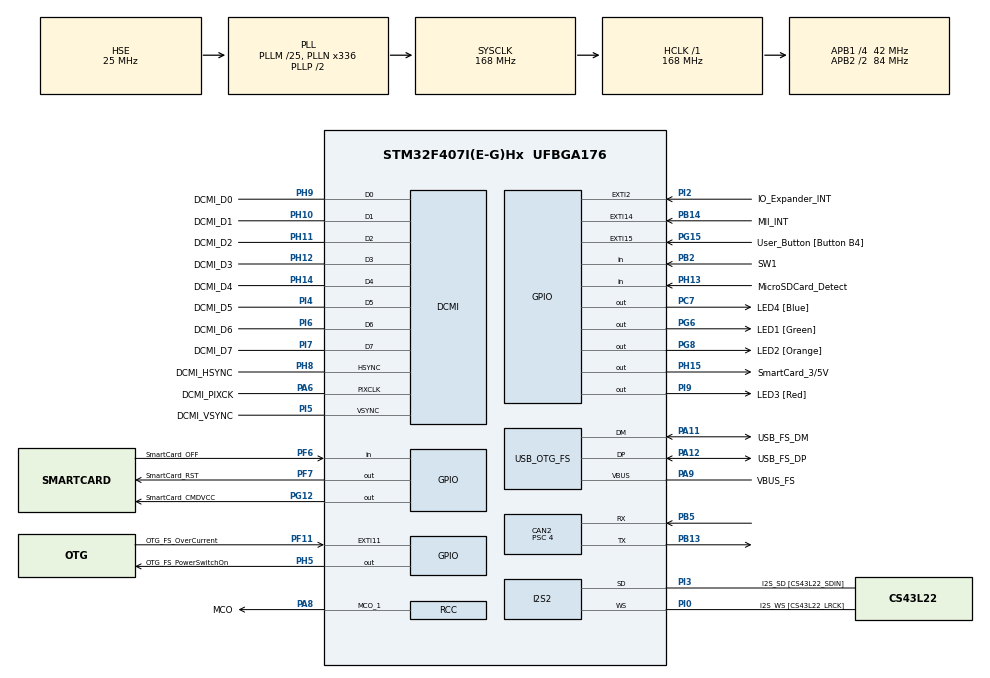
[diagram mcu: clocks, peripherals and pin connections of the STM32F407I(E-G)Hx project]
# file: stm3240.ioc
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CAN2.BS1=CAN_BS1_15TQ
CAN2.BS2=CAN_BS2_5TQ
CAN2.CalculateBaudRate=500000
CAN2.CalculateTimeBit=2000
CAN2.CalculateTimeQuantum=95.23809523809524
CAN2.Mode=CAN_MODE_NORMAL
CAN2.Prescaler=4
CAN2.SJW=CAN_SJW_1TQ
Mcu.Family=STM32F4
Mcu.Name=STM32F407I(E-G)Hx
Mcu.Package=UFBGA176
NVIC.CAN2_RX0_IRQn=true\:0\:0\:false\:false\:true\:true\:true
NVIC.CAN2_RX1_IRQn=true\:0\:0\:false\:false\:true\:true\:true
NVIC.OTG_FS_IRQn=true\:0\:0\:false\:false\:true\:true\:true
NVIC.PriorityGroup=NVIC_PRIORITYGROUP_0
PA0-WKUP.GPIO_Label=WAKEUP [Button B2]
PA0-WKUP.Signal=SYS_WKUP
PA1.GPIO_Label=MII_RX_CLK/RMII_REF_CLK
PA1.GPIO_Mode=GPIO_MODE_AF_PP
PA1.GPIO_PuPd=GPIO_NOPULL
PA1.GPIO_Speed=GPIO_SPEED_FREQ_LOW
PA1.Signal=ETH_RX_CLK
PA10.GPIO_Label=USB_FS_ID
PA10.GPIO_Mode=GPIO_MODE_AF_PP
PA10.GPIO_PuPd=GPIO_NOPULL
PA10.GPIO_Speed=GPIO_SPEED_FREQ_LOW
PA10.Signal=USB_OTG_FS_ID
PA11.GPIO_Label=USB_FS_DM
PA11.GPIO_Mode=GPIO_MODE_AF_PP
PA11.GPIO_PuPd=GPIO_NOPULL
PA11.GPIO_Speed=GPIO_SPEED_FREQ_LOW
PA11.Mode=Device_Only
PA11.Signal=USB_OTG_FS_DM
PA12.GPIO_Label=USB_FS_DP
PA12.GPIO_Mode=GPIO_MODE_AF_PP
PA12.GPIO_PuPd=GPIO_NOPULL
PA12.GPIO_Speed=GPIO_SPEED_FREQ_LOW
PA12.Mode=Device_Only
PA12.Signal=USB_OTG_FS_DP
PA13.GPIO_Label=TMS/SWDIO
PA13.Mode=Serial_Wire
PA13.Signal=SYS_JTMS-SWDIO
PA14.GPIO_Label=TCK/SWCLK
PA14.Mode=Serial_Wire
PA14.Signal=SYS_JTCK-SWCLK
PA15.GPIO_Label=TDI
PA15.Signal=SYS_JTDI
PA2.GPIO_Label=MII_MDIO
PA2.GPIO_Mode=GPIO_MODE_AF_PP
PA2.GPIO_PuPd=GPIO_NOPULL
PA2.GPIO_Speed=GPIO_SPEED_FREQ_LOW
PA2.Signal=ETH_MDIO
PA3.GPIO_Label=ULPI_D0
PA3.GPIO_Mode=GPIO_MODE_AF_PP
PA3.GPIO_PuPd=GPIO_NOPULL
PA3.GPIO_Speed=GPIO_SPEED_FREQ_VERY_HIGH
PA3.Signal=USB_OTG_HS_ULPI_D0
PA4.GPIO_Label=Audio_DAC_OUT [CS43L22_AIN1]
PA4.GPIO_Mode=GPIO_MODE_ANALOG
PA4.GPIO_PuPd=GPIO_NOPULL
PA4.Signal=COMP_DAC1_group
PA5.GPIO_Label=ULPI_CLK
PA5.GPIO_Mode=GPIO_MODE_AF_PP
PA5.GPIO_PuPd=GPIO_NOPULL
PA5.GPIO_Speed=GPIO_SPEED_FREQ_VERY_HIGH
PA5.Signal=USB_OTG_HS_ULPI_CK
PA6.GPIO_Label=DCMI_PIXCK
PA6.GPIO_Mode=GPIO_MODE_AF_PP
PA6.GPIO_PuPd=GPIO_NOPULL
PA6.GPIO_Speed=GPIO_SPEED_FREQ_LOW
PA6.Mode=Slave_8_bits_External_Synchro
PA6.Signal=DCMI_PIXCLK
PA7.GPIO_Label=MII_RX_DV/RMII_CRSDV
PA7.GPIO_Mode=GPIO_MODE_AF_PP
PA7.GPIO_PuPd=GPIO_NOPULL
PA7.GPIO_Speed=GPIO_SPEED_FREQ_LOW
PA7.Signal=ETH_RX_DV
PA8.GPIO_Label=MCO
PA8.GPIO_Mode=GPIO_MODE_AF_PP
PA8.GPIO_PuPd=GPIO_NOPULL
PA8.GPIO_Speed=GPIO_SPEED_FREQ_LOW
PA8.Mode=Clock-out-1
PA8.Signal=RCC_MCO_1
PA9.GPIO_Label=VBUS_FS
PA9.GPIO_Mode=GPIO_MODE_INPUT
PA9.GPIO_PuPd=GPIO_NOPULL
PA9.Mode=Activate_VBUS
PA9.Signal=USB_OTG_FS_VBUS
PB0.GPIO_Label=ULPI_D1
PB0.GPIO_Mode=GPIO_MODE_AF_PP
PB0.GPIO_PuPd=GPIO_NOPULL
PB0.GPIO_Speed=GPIO_SPEED_FREQ_VERY_HIGH
PB0.Signal=USB_OTG_HS_ULPI_D1
PB1.GPIO_Label=ULPI_D2
PB1.GPIO_Mode=GPIO_MODE_AF_PP
PB1.GPIO_PuPd=GPIO_NOPULL
PB1.GPIO_Speed=GPIO_SPEED_FREQ_VERY_HIGH
PB1.Signal=USB_OTG_HS_ULPI_D2
PB10.GPIO_Label=ULPI_D3
PB10.GPIO_Mode=GPIO_MODE_AF_PP
PB10.GPIO_PuPd=GPIO_NOPULL
PB10.GPIO_Speed=GPIO_SPEED_FREQ_VERY_HIGH
PB10.Signal=USB_OTG_HS_ULPI_D3
PB11.GPIO_Label=ULPI_D4
PB11.GPIO_Mode=GPIO_MODE_AF_PP
PB11.GPIO_PuPd=GPIO_NOPULL
PB11.GPIO_Speed=GPIO_SPEED_FREQ_VERY_HIGH
PB11.Signal=USB_OTG_HS_ULPI_D4
PB12.GPIO_Label=ULPI_D5
PB12.GPIO_Mode=GPIO_MODE_AF_PP
PB12.GPIO_PuPd=GPIO_NOPULL
PB12.GPIO_Speed=GPIO_SPEED_FREQ_VERY_HIGH
PB12.Signal=USB_OTG_HS_ULPI_D5
PB13.Mode=CAN_Activate
PB13.Signal=CAN2_TX
PB14.GPIO_Label=MII_INT
PB14.GPIO_ModeDefaultEXTI=GPIO_MODE_EVT_RISING
PB14.GPIO_PuPd=GPIO_NOPULL
PB14.Signal=GPXTI14
PB2.GPIO_Label=SW1
PB2.GPIO_Mode=GPIO_MODE_INPUT
PB2.GPIO_PuPd=GPIO_NOPULL
PB2.Signal=GPIO_Input
PB3.GPIO_Label=TDO/SWO
PB3.Signal=SYS_JTDO-SWO
PB4.GPIO_Label=TRST
PB4.Signal=SYS_JTRST
PB5.Mode=CAN_Activate
PB5.Signal=CAN2_RX
PB7.GPIO_Label=FSMC_NL [OneNAND_AVD]
PB7.GPIO_Mode=GPIO_MODE_AF_PP
PB7.GPIO_PuPd=GPIO_NOPULL
PB7.GPIO_Speed=GPIO_SPEED_FREQ_LOW
PB7.Signal=FSMC_NL
PB8.GPIO_Label=MII_TXD3
PB8.GPIO_Mode=GPIO_MODE_AF_PP
PB8.GPIO_PuPd=GPIO_NOPULL
PB8.GPIO_Speed=GPIO_SPEED_FREQ_LOW
PB8.Signal=ETH_TXD3
PB9.GPIO_Label=I2C1_SDA [CAM_SDA]
PB9.GPIO_Mode=GPIO_MODE_AF_OD
PB9.GPIO_Pu=GPIO_PULLUP
PB9.GPIO_PuPd=GPIO_NOPULL
PB9.GPIO_Speed=GPIO_SPEED_FREQ_LOW
PB9.Signal=I2C1_SDA
PC0.GPIO_Label=ULPI_STP
PC0.GPIO_Mode=GPIO_MODE_AF_PP
PC0.GPIO_PuPd=GPIO_NOPULL
PC0.GPIO_Speed=GPIO_SPEED_FREQ_VERY_HIGH
PC0.Signal=USB_OTG_HS_ULPI_STP
PC1.GPIO_Label=MII_MDC
PC1.GPIO_Mode=GPIO_MODE_AF_PP
PC1.GPIO_PuPd=GPIO_NOPULL
PC1.GPIO_Speed=GPIO_SPEED_FREQ_LOW
PC1.Signal=ETH_MDC
PC10.GPIO_Label=MicroSDCard_D2
PC10.GPIO_Mode=GPIO_MODE_AF_PP
PC10.GPIO_PuPd=GPIO_NOPULL
PC10.GPIO_Speed=GPIO_SPEED_FREQ_LOW
PC10.Signal=USART3_TX
PC11.GPIO_Label=MicroSDCard_D3
PC11.GPIO_Mode=GPIO_MODE_AF_PP
PC11.GPIO_PuPd=GPIO_NOPULL
PC11.GPIO_Speed=GPIO_SPEED_FREQ_LOW
PC11.Signal=USART3_RX
PC12.GPIO_Label=MicroSDCard_CLK
PC12.GPIO_Mode=GPIO_MODE_AF_PP
PC12.GPIO_PuPd=GPIO_NOPULL
PC12.GPIO_Speed=GPIO_SPEED_FREQ_LOW
PC12.Signal=SDIO_CK
PC13-ANTI_TAMP.GPIO_Label=Anti_Tamper [Button B3]
PC13-ANTI_TAMP.Signal=RTC_AF1
PC14-OSC32_IN.GPIO_Label=PC14-OSC32_IN
PC14-OSC32_IN.Mode=LSE-External-Oscillator
PC14-OSC32_IN.Signal=RCC_OSC32_IN
PC15-OSC32_OUT.GPIO_Label=PC15-OSC32_OUT
PC15-OSC32_OUT.Mode=LSE-External-Oscillator
PC15-OSC32_OUT.Signal=RCC_OSC32_OUT
PC2.GPIO_Label=MII_TXD2
PC2.GPIO_Mode=GPIO_MODE_AF_PP
PC2.GPIO_PuPd=GPIO_NOPULL
PC2.GPIO_Speed=GPIO_SPEED_FREQ_LOW
PC2.Signal=ETH_TXD2
PC3.GPIO_Label=MII_TX_CLK
PC3.GPIO_Mode=GPIO_MODE_AF_PP
PC3.GPIO_PuPd=GPIO_NOPULL
PC3.GPIO_Speed=GPIO_SPEED_FREQ_LOW
PC3.Signal=ETH_TX_CLK
PC4.GPIO_Label=MII_RXD0
PC4.GPIO_Mode=GPIO_MODE_AF_PP
PC4.GPIO_PuPd=GPIO_NOPULL
PC4.GPIO_Speed=GPIO_SPEED_FREQ_LOW
PC4.Signal=ETH_RXD0
PC5.GPIO_Label=MII_RXD1
PC5.GPIO_Mode=GPIO_MODE_AF_PP
PC5.GPIO_PuPd=GPIO_NOPULL
PC5.GPIO_Speed=GPIO_SPEED_FREQ_LOW
PC5.Signal=ETH_RXD1
PC7.GPIO_Label=LED4 [Blue]
PC7.GPIO_Mode=GPIO_MODE_OUTPUT_PP
PC7.GPIO_ModeDefaultOutputPP=GPIO_MODE_OUTPUT_PP
PC7.GPIO_PuPd=GPIO_NOPULL
PC7.GPIO_Speed=GPIO_SPEED_FREQ_LOW
PC7.Signal=GPIO_Output
PC8.GPIO_Label=MicroSDCard_D0
PC8.GPIO_Mode=GPIO_MODE_AF_PP
PC8.GPIO_PuPd=GPIO_NOPULL
PC8.GPIO_Speed=GPIO_SPEED_FREQ_LOW
PC8.Signal=SDIO_D0
PC9.GPIO_Label=MicroSDCard_D1
PC9.GPIO_Mode=GPIO_MODE_AF_PP
PC9.GPIO_PuPd=GPIO_NOPULL
PC9.GPIO_Speed=GPIO_SPEED_FREQ_LOW
PC9.Signal=SDIO_D1
PD0.GPIO_Label=D2
PD0.GPIO_Mode=GPIO_MODE_AF_PP
PD0.GPIO_PuPd=GPIO_NOPULL
PD0.GPIO_Speed=GPIO_SPEED_FREQ_LOW
PD0.Signal=FSMC_D2_DA2
PD1.GPIO_Label=D3
PD1.GPIO_Mode=GPIO_MODE_AF_PP
PD1.GPIO_PuPd=GPIO_NOPULL
PD1.GPIO_Speed=GPIO_SPEED_FREQ_LOW
PD1.Signal=FSMC_D3_DA3
PD10.GPIO_Label=D15
PD10.GPIO_Mode=GPIO_MODE_AF_PP
PD10.GPIO_PuPd=GPIO_NOPULL
PD10.GPIO_Speed=GPIO_SPEED_FREQ_LOW
PD10.Signal=FSMC_D15_DA15
PD11.GPIO_Label=A16
PD11.GPIO_Mode=GPIO_MODE_AF_PP
PD11.GPIO_PuPd=GPIO_NOPULL
PD11.GPIO_Speed=GPIO_SPEED_FREQ_LOW
PD11.Signal=FSMC_A16_CLE
PD12.GPIO_Label=A17
PD12.GPIO_Mode=GPIO_MODE_AF_PP
PD12.GPIO_PuPd=GPIO_NOPULL
PD12.GPIO_Speed=GPIO_SPEED_FREQ_LOW
PD12.Signal=FSMC_A17_ALE
PD13.GPIO_Label=A18
PD13.GPIO_Mode=GPIO_MODE_AF_PP
PD13.GPIO_PuPd=GPIO_NOPULL
PD13.GPIO_Speed=GPIO_SPEED_FREQ_LOW
PD13.Signal=FSMC_A18
PD14.GPIO_Label=D0
PD14.GPIO_Mode=GPIO_MODE_AF_PP
PD14.GPIO_PuPd=GPIO_NOPULL
PD14.GPIO_Speed=GPIO_SPEED_FREQ_LOW
PD14.Signal=FSMC_D0_DA0
PD15.GPIO_Label=D1
PD15.GPIO_Mode=GPIO_MODE_AF_PP
PD15.GPIO_PuPd=GPIO_NOPULL
PD15.GPIO_Speed=GPIO_SPEED_FREQ_LOW
PD15.Signal=FSMC_D1_DA1
PD2.GPIO_Label=MicroSDCard_CMD
PD2.GPIO_Mode=GPIO_MODE_AF_PP
PD2.GPIO_PuPd=GPIO_NOPULL
PD2.GPIO_Speed=GPIO_SPEED_FREQ_LOW
PD2.Signal=SDIO_CMD
PD3.GPIO_Label=FSMC_CLK [OneNAND_CLK]
PD3.GPIO_Mode=GPIO_MODE_AF_PP
PD3.GPIO_PuPd=GPIO_NOPULL
PD3.GPIO_Speed=GPIO_SPEED_FREQ_LOW
PD3.Signal=FSMC_CLK
PD4.GPIO_Label=FSMC_NOE
PD4.GPIO_Mode=GPIO_MODE_AF_PP
PD4.GPIO_PuPd=GPIO_NOPULL
PD4.GPIO_Speed=GPIO_SPEED_FREQ_LOW
PD4.Signal=FSMC_NOE
PD5.GPIO_Label=FSMC_NWE
PD5.GPIO_Mode=GPIO_MODE_AF_PP
PD5.GPIO_PuPd=GPIO_NOPULL
PD5.GPIO_Speed=GPIO_SPEED_FREQ_LOW
PD5.Signal=FSMC_NWE
PD6.GPIO_Label=FSMC_NWAIT [OneNAND_RDY]
PD6.GPIO_Mode=GPIO_MODE_AF_PP
PD6.GPIO_PuPd=GPIO_NOPULL
PD6.GPIO_Speed=GPIO_SPEED_FREQ_LOW
PD6.Signal=FSMC_NWAIT
PD7.GPIO_Label=FSMC_NE1 [OneNAND_CE]
PD7.GPIO_Mode=GPIO_MODE_AF_PP
PD7.GPIO_PuPd=GPIO_NOPULL
PD7.GPIO_Speed=GPIO_SPEED_FREQ_LOW
PD7.Signal=FSMC_NE1
PD8.GPIO_Label=D13
PD8.GPIO_Mode=GPIO_MODE_AF_PP
PD8.GPIO_PuPd=GPIO_NOPULL
PD8.GPIO_Speed=GPIO_SPEED_FREQ_LOW
PD8.Signal=FSMC_D13_DA13
PD9.GPIO_Label=D14
PD9.GPIO_Mode=GPIO_MODE_AF_PP
PD9.GPIO_PuPd=GPIO_NOPULL
PD9.GPIO_Speed=GPIO_SPEED_FREQ_LOW
PD9.Signal=FSMC_D14_DA14
PE0.GPIO_Label=FSMC_NBL0 [SRAM_BLE]
PE0.GPIO_Mode=GPIO_MODE_AF_PP
PE0.GPIO_PuPd=GPIO_NOPULL
PE0.GPIO_Speed=GPIO_SPEED_FREQ_LOW
PE0.Signal=FSMC_NBL0
PE1.GPIO_Label=FSMC_NBL1 [SRAM_BHE]
PE1.GPIO_Mode=GPIO_MODE_AF_PP
PE1.GPIO_PuPd=GPIO_NOPULL
PE1.GPIO_Speed=GPIO_SPEED_FREQ_LOW
PE1.Signal=FSMC_NBL1
PE10.GPIO_Label=D7
PE10.GPIO_Mode=GPIO_MODE_AF_PP
PE10.GPIO_PuPd=GPIO_NOPULL
PE10.GPIO_Speed=GPIO_SPEED_FREQ_LOW
PE10.Signal=FSMC_D7_DA7
PE11.GPIO_Label=D8
PE11.GPIO_Mode=GPIO_MODE_AF_PP
PE11.GPIO_PuPd=GPIO_NOPULL
PE11.GPIO_Speed=GPIO_SPEED_FREQ_LOW
PE11.Signal=FSMC_D8_DA8
PE12.GPIO_Label=D9
PE12.GPIO_Mode=GPIO_MODE_AF_PP
PE12.GPIO_PuPd=GPIO_NOPULL
PE12.GPIO_Speed=GPIO_SPEED_FREQ_LOW
PE12.Signal=FSMC_D9_DA9
PE13.GPIO_Label=D10
PE13.GPIO_Mode=GPIO_MODE_AF_PP
PE13.GPIO_PuPd=GPIO_NOPULL
PE13.GPIO_Speed=GPIO_SPEED_FREQ_LOW
PE13.Signal=FSMC_D10_DA10
PE14.GPIO_Label=D11
PE14.GPIO_Mode=GPIO_MODE_AF_PP
PE14.GPIO_PuPd=GPIO_NOPULL
PE14.GPIO_Speed=GPIO_SPEED_FREQ_LOW
PE14.Signal=FSMC_D11_DA11
PE15.GPIO_Label=D12
PE15.GPIO_Mode=GPIO_MODE_AF_PP
PE15.GPIO_PuPd=GPIO_NOPULL
PE15.GPIO_Speed=GPIO_SPEED_FREQ_LOW
PE15.Signal=FSMC_D12_DA12
PE2.GPIO_Label=TRACE_CLK
PE2.Signal=SYS_TRACECLK
PE3.GPIO_Label=A19
PE3.GPIO_Mode=GPIO_MODE_AF_PP
PE3.GPIO_PuPd=GPIO_NOPULL
PE3.GPIO_Speed=GPIO_SPEED_FREQ_LOW
PE3.Signal=FSMC_A19
PE4.GPIO_Label=A20
PE4.GPIO_Mode=GPIO_MODE_AF_PP
PE4.GPIO_PuPd=GPIO_NOPULL
PE4.GPIO_Speed=GPIO_SPEED_FREQ_LOW
PE4.Signal=FSMC_A20
PE5.GPIO_Label=TRACE_D2
PE5.Signal=SYS_TRACED2
PE6.GPIO_Label=TRACE_D3
PE6.Signal=SYS_TRACED3
PE7.GPIO_Label=D4
PE7.GPIO_Mode=GPIO_MODE_AF_PP
PE7.GPIO_PuPd=GPIO_NOPULL
PE7.GPIO_Speed=GPIO_SPEED_FREQ_LOW
PE7.Signal=FSMC_D4_DA4
PE8.GPIO_Label=D5
PE8.GPIO_Mode=GPIO_MODE_AF_PP
PE8.GPIO_PuPd=GPIO_NOPULL
PE8.GPIO_Speed=GPIO_SPEED_FREQ_LOW
PE8.Signal=FSMC_D5_DA5
PE9.GPIO_Label=D6
PE9.GPIO_Mode=GPIO_MODE_AF_PP
PE9.GPIO_PuPd=GPIO_NOPULL
PE9.GPIO_Speed=GPIO_SPEED_FREQ_LOW
PE9.Signal=FSMC_D6_DA6
PF0.GPIO_Label=A0
PF0.GPIO_Mode=GPIO_MODE_AF_PP
PF0.GPIO_PuPd=GPIO_NOPULL
PF0.GPIO_Speed=GPIO_SPEED_FREQ_LOW
PF0.Signal=FSMC_A0
PF1.GPIO_Label=A1
PF1.GPIO_Mode=GPIO_MODE_AF_PP
PF1.GPIO_PuPd=GPIO_NOPULL
PF1.GPIO_Speed=GPIO_SPEED_FREQ_LOW
PF1.Signal=FSMC_A1
PF10.GPIO_Label=Audio_IN [TS472_OUT+]
PF10.GPIO_Mode=GPIO_MODE_ANALOG
PF10.GPIO_PuPd=GPIO_NOPULL
PF10.Signal=ADC3_IN8
PF11.GPIO_Label=OTG_FS_OverCurrent
PF11.GPIO_ModeDefaultEXTI=GPIO_MODE_EVT_RISING
PF11.GPIO_PuPd=GPIO_NOPULL
PF11.Signal=GPXTI11
PF12.GPIO_Label=A6
PF12.GPIO_Mode=GPIO_MODE_AF_PP
PF12.GPIO_PuPd=GPIO_NOPULL
PF12.GPIO_Speed=GPIO_SPEED_FREQ_LOW
PF12.Signal=FSMC_A6
PF13.GPIO_Label=A7
PF13.GPIO_Mode=GPIO_MODE_AF_PP
PF13.GPIO_PuPd=GPIO_NOPULL
PF13.GPIO_Speed=GPIO_SPEED_FREQ_LOW
PF13.Signal=FSMC_A7
PF14.GPIO_Label=A8
PF14.GPIO_Mode=GPIO_MODE_AF_PP
PF14.GPIO_PuPd=GPIO_NOPULL
PF14.GPIO_Speed=GPIO_SPEED_FREQ_LOW
PF14.Signal=FSMC_A8
PF15.GPIO_Label=A9
PF15.GPIO_Mode=GPIO_MODE_AF_PP
PF15.GPIO_PuPd=GPIO_NOPULL
PF15.GPIO_Speed=GPIO_SPEED_FREQ_LOW
PF15.Signal=FSMC_A9
PF2.GPIO_Label=A2
PF2.GPIO_Mode=GPIO_MODE_AF_PP
PF2.GPIO_PuPd=GPIO_NOPULL
PF2.GPIO_Speed=GPIO_SPEED_FREQ_LOW
PF2.Signal=FSMC_A2
PF3.GPIO_Label=A3
PF3.GPIO_Mode=GPIO_MODE_AF_PP
PF3.GPIO_PuPd=GPIO_NOPULL
PF3.GPIO_Speed=GPIO_SPEED_FREQ_LOW
PF3.Signal=FSMC_A3
PF4.GPIO_Label=A4
PF4.GPIO_Mode=GPIO_MODE_AF_PP
PF4.GPIO_PuPd=GPIO_NOPULL
PF4.GPIO_Speed=GPIO_SPEED_FREQ_LOW
PF4.Signal=FSMC_A4
PF5.GPIO_Label=A5
PF5.GPIO_Mode=GPIO_MODE_AF_PP
PF5.GPIO_PuPd=GPIO_NOPULL
PF5.GPIO_Speed=GPIO_SPEED_FREQ_LOW
PF5.Signal=FSMC_A5
PF6.GPIO_Label=SmartCard_OFF
PF6.GPIO_Mode=GPIO_MODE_INPUT
PF6.GPIO_PuPd=GPIO_NOPULL
PF6.Signal=GPIO_Input
PF7.GPIO_Label=SmartCard_RST
PF7.GPIO_Mode=GPIO_MODE_OUTPUT_PP
PF7.GPIO_ModeDefaultOutputPP=GPIO_MODE_OUTPUT_PP
PF7.GPIO_PuPd=GPIO_NOPULL
PF7.GPIO_Speed=GPIO_SPEED_FREQ_LOW
PF7.Signal=GPIO_Output
PF9.GPIO_Label=Potentiometer [RV1]
PF9.GPIO_Mode=GPIO_MODE_ANALOG
PF9.GPIO_PuPd=GPIO_NOPULL
PF9.Signal=ADC3_IN7
PG0.GPIO_Label=A10
PG0.GPIO_Mode=GPIO_MODE_AF_PP
PG0.GPIO_PuPd=GPIO_NOPULL
PG0.GPIO_Speed=GPIO_SPEED_FREQ_LOW
PG0.Signal=FSMC_A10
PG1.GPIO_Label=A11
PG1.GPIO_Mode=GPIO_MODE_AF_PP
PG1.GPIO_PuPd=GPIO_NOPULL
PG1.GPIO_Speed=GPIO_SPEED_FREQ_LOW
PG1.Signal=FSMC_A11
PG10.GPIO_Label=FSMC_NE3 [TFT-LCD_CS]
PG10.GPIO_Mode=GPIO_MODE_AF_PP
PG10.GPIO_PuPd=GPIO_NOPULL
PG10.GPIO_Speed=GPIO_SPEED_FREQ_LOW
PG10.Signal=FSMC_NE3
PG12.GPIO_Label=SmartCard_CMDVCC
PG12.GPIO_Mode=GPIO_MODE_OUTPUT_PP
PG12.GPIO_ModeDefaultOutputPP=GPIO_MODE_OUTPUT_PP
PG12.GPIO_PuPd=GPIO_NOPULL
PG12.GPIO_Speed=GPIO_SPEED_FREQ_LOW
PG12.Signal=GPIO_Output
PG13.GPIO_Label=MII_TXD0
PG13.GPIO_Mode=GPIO_MODE_AF_PP
PG13.GPIO_PuPd=GPIO_NOPULL
PG13.GPIO_Speed=GPIO_SPEED_FREQ_LOW
PG13.Signal=ETH_TXD0
PG14.GPIO_Label=MII_TXD1
PG14.GPIO_Mode=GPIO_MODE_AF_PP
PG14.GPIO_PuPd=GPIO_NOPULL
PG14.GPIO_Speed=GPIO_SPEED_FREQ_LOW
PG14.Signal=ETH_TXD1
PG15.GPIO_Label=User_Button [Button B4]
PG15.GPIO_ModeDefaultEXTI=GPIO_MODE_EVT_RISING
PG15.GPIO_PuPd=GPIO_NOPULL
PG15.Signal=GPXTI15
PG2.GPIO_Label=A12
PG2.GPIO_Mode=GPIO_MODE_AF_PP
PG2.GPIO_PuPd=GPIO_NOPULL
PG2.GPIO_Speed=GPIO_SPEED_FREQ_LOW
PG2.Signal=FSMC_A12
PG3.GPIO_Label=A13
PG3.GPIO_Mode=GPIO_MODE_AF_PP
PG3.GPIO_PuPd=GPIO_NOPULL
PG3.GPIO_Speed=GPIO_SPEED_FREQ_LOW
PG3.Signal=FSMC_A13
PG4.GPIO_Label=A14
PG4.GPIO_Mode=GPIO_MODE_AF_PP
PG4.GPIO_PuPd=GPIO_NOPULL
PG4.GPIO_Speed=GPIO_SPEED_FREQ_LOW
PG4.Signal=FSMC_A14
PG5.GPIO_Label=A15
PG5.GPIO_Mode=GPIO_MODE_AF_PP
PG5.GPIO_PuPd=GPIO_NOPULL
PG5.GPIO_Speed=GPIO_SPEED_FREQ_LOW
PG5.Signal=FSMC_A15
PG6.GPIO_Label=LED1 [Green]
PG6.GPIO_Mode=GPIO_MODE_OUTPUT_PP
PG6.GPIO_ModeDefaultOutputPP=GPIO_MODE_OUTPUT_PP
PG6.GPIO_PuPd=GPIO_NOPULL
PG6.GPIO_Speed=GPIO_SPEED_FREQ_LOW
PG6.Signal=GPIO_Output
PG7.GPIO_Label=SmartCard_CLK
PG7.GPIO_Mode=GPIO_MODE_AF_PP
PG7.GPIO_PuPd=GPIO_NOPULL
PG7.GPIO_Speed=GPIO_SPEED_FREQ_LOW
PG7.Signal=USART6_CK
PG8.GPIO_Label=LED2 [Orange]
PG8.GPIO_Mode=GPIO_MODE_OUTPUT_PP
PG8.GPIO_ModeDefaultOutputPP=GPIO_MODE_OUTPUT_PP
PG8.GPIO_PuPd=GPIO_NOPULL
PG8.GPIO_Speed=GPIO_SPEED_FREQ_LOW
PG8.Signal=GPIO_Output
PG9.GPIO_Label=FSMC_NE2 [SDRAM_CE]
PG9.GPIO_Mode=GPIO_MODE_AF_PP
PG9.GPIO_PuPd=GPIO_NOPULL
PG9.GPIO_Speed=GPIO_SPEED_FREQ_LOW
PG9.Signal=FSMC_NE2
PH0-OSC_IN.GPIO_Label=PH0-OSC_IN
PH0-OSC_IN.Mode=HSE-External-Oscillator
PH0-OSC_IN.Signal=RCC_OSC_IN
PH1-OSC_OUT.GPIO_Label=PH1-OSC_OUT
PH1-OSC_OUT.Mode=HSE-External-Oscillator
PH1-OSC_OUT.Signal=RCC_OSC_OUT
PH10.GPIO_Label=DCMI_D1
PH10.GPIO_Mode=GPIO_MODE_AF_PP
PH10.GPIO_PuPd=GPIO_NOPULL
PH10.GPIO_Speed=GPIO_SPEED_FREQ_LOW
PH10.Mode=Slave_8_bits_External_Synchro
PH10.Signal=DCMI_D1
PH11.GPIO_Label=DCMI_D2
PH11.GPIO_Mode=GPIO_MODE_AF_PP
PH11.GPIO_PuPd=GPIO_NOPULL
PH11.GPIO_Speed=GPIO_SPEED_FREQ_LOW
PH11.Mode=Slave_8_bits_External_Synchro
PH11.Signal=DCMI_D2
PH12.GPIO_Label=DCMI_D3
PH12.GPIO_Mode=GPIO_MODE_AF_PP
PH12.GPIO_PuPd=GPIO_NOPULL
PH12.GPIO_Speed=GPIO_SPEED_FREQ_LOW
PH12.Mode=Slave_8_bits_External_Synchro
PH12.Signal=DCMI_D3
PH13.GPIO_Label=MicroSDCard_Detect
PH13.GPIO_Mode=GPIO_MODE_INPUT
PH13.GPIO_PuPd=GPIO_PULLUP
PH13.Signal=GPIO_Input
PH14.GPIO_Label=DCMI_D4
PH14.GPIO_Mode=GPIO_MODE_AF_PP
PH14.GPIO_PuPd=GPIO_NOPULL
PH14.GPIO_Speed=GPIO_SPEED_FREQ_LOW
PH14.Mode=Slave_8_bits_External_Synchro
PH14.Signal=DCMI_D4
PH15.GPIO_Label=SmartCard_3/5V
PH15.GPIO_Mode=GPIO_MODE_OUTPUT_PP
PH15.GPIO_ModeDefaultOutputPP=GPIO_MODE_OUTPUT_PP
PH15.GPIO_PuPd=GPIO_NOPULL
PH15.GPIO_Speed=GPIO_SPEED_FREQ_LOW
PH15.Signal=GPIO_Output
PH2.GPIO_Label=MII_CRS
PH2.GPIO_Mode=GPIO_MODE_AF_PP
PH2.GPIO_PuPd=GPIO_NOPULL
PH2.GPIO_Speed=GPIO_SPEED_FREQ_LOW
PH2.Signal=ETH_CRS
PH3.GPIO_Label=MII_COL
PH3.GPIO_Mode=GPIO_MODE_AF_PP
PH3.GPIO_PuPd=GPIO_NOPULL
PH3.GPIO_Speed=GPIO_SPEED_FREQ_LOW
PH3.Signal=ETH_COL
PH4.GPIO_Label=ULPI_NXT
PH4.GPIO_Mode=GPIO_MODE_AF_PP
PH4.GPIO_PuPd=GPIO_NOPULL
PH4.GPIO_Speed=GPIO_SPEED_FREQ_VERY_HIGH
PH4.Signal=USB_OTG_HS_ULPI_NXT
PH5.GPIO_Label=OTG_FS_PowerSwitchOn
PH5.GPIO_Mode=GPIO_MODE_OUTPUT_PP
PH5.GPIO_ModeDefaultOutputPP=GPIO_MODE_OUTPUT_PP
PH5.GPIO_PuPd=GPIO_NOPULL
PH5.GPIO_Speed=GPIO_SPEED_FREQ_LOW
PH5.Signal=GPIO_Output
PH6.GPIO_Label=MII_RXD2
PH6.GPIO_Mode=GPIO_MODE_AF_PP
PH6.GPIO_PuPd=GPIO_NOPULL
PH6.GPIO_Speed=GPIO_SPEED_FREQ_LOW
PH6.Signal=ETH_RXD2
PH7.GPIO_Label=MII_RXD3
PH7.GPIO_Mode=GPIO_MODE_AF_PP
PH7.GPIO_PuPd=GPIO_NOPULL
PH7.GPIO_Speed=GPIO_SPEED_FREQ_LOW
PH7.Signal=ETH_RXD3
PH8.GPIO_Label=DCMI_HSYNC
PH8.GPIO_Mode=GPIO_MODE_AF_PP
PH8.GPIO_PuPd=GPIO_NOPULL
PH8.GPIO_Speed=GPIO_SPEED_FREQ_LOW
PH8.Mode=Slave_8_bits_External_Synchro
PH8.Signal=DCMI_HSYNC
PH9.GPIO_Label=DCMI_D0
PH9.GPIO_Mode=GPIO_MODE_AF_PP
PH9.GPIO_PuPd=GPIO_NOPULL
PH9.GPIO_Speed=GPIO_SPEED_FREQ_LOW
PH9.Mode=Slave_8_bits_External_Synchro
PH9.Signal=DCMI_D0
PI0.GPIO_Label=I2S_WS [CS43L22_LRCK]
PI0.GPIO_Mode=GPIO_MODE_AF_PP
PI0.GPIO_PuPd=GPIO_NOPULL
PI0.GPIO_Speed=GPIO_SPEED_FREQ_LOW
PI0.Mode=Half_Duplex_Master
PI0.Signal=I2S2_WS
PI10.GPIO_Label=MII_RX_ER
PI10.GPIO_Mode=GPIO_MODE_AF_PP
PI10.GPIO_PuPd=GPIO_NOPULL
PI10.GPIO_Speed=GPIO_SPEED_FREQ_LOW
PI10.Signal=ETH_RX_ER
PI11.GPIO_Label=ULPI_DIR
PI11.GPIO_Mode=GPIO_MODE_AF_PP
PI11.GPIO_PuPd=GPIO_NOPULL
PI11.GPIO_Speed=GPIO_SPEED_FREQ_VERY_HIGH
PI11.Signal=USB_OTG_HS_ULPI_DIR
PI2.GPIO_Label=IO_Expander_INT
PI2.GPIO_ModeDefaultEXTI=GPIO_MODE_EVT_RISING
PI2.GPIO_PuPd=GPIO_NOPULL
PI2.Signal=GPXTI2
PI3.GPIO_Label=I2S_SD [CS43L22_SDIN]
PI3.GPIO_Mode=GPIO_MODE_AF_PP
PI3.GPIO_PuPd=GPIO_NOPULL
PI3.GPIO_Speed=GPIO_SPEED_FREQ_LOW
PI3.Mode=Half_Duplex_Master
PI3.Signal=I2S2_SD
PI4.GPIO_Label=DCMI_D5
PI4.GPIO_Mode=GPIO_MODE_AF_PP
PI4.GPIO_PuPd=GPIO_NOPULL
PI4.GPIO_Speed=GPIO_SPEED_FREQ_LOW
PI4.Mode=Slave_8_bits_External_Synchro
PI4.Signal=DCMI_D5
PI5.GPIO_Label=DCMI_VSYNC
PI5.GPIO_Mode=GPIO_MODE_AF_PP
PI5.GPIO_PuPd=GPIO_NOPULL
PI5.GPIO_Speed=GPIO_SPEED_FREQ_LOW
PI5.Mode=Slave_8_bits_External_Synchro
PI5.Signal=DCMI_VSYNC
PI6.GPIO_Label=DCMI_D6
PI6.GPIO_Mode=GPIO_MODE_AF_PP
PI6.GPIO_PuPd=GPIO_NOPULL
PI6.GPIO_Speed=GPIO_SPEED_FREQ_LOW
PI6.Mode=Slave_8_bits_External_Synchro
PI6.Signal=DCMI_D6
PI7.GPIO_Label=DCMI_D7
PI7.GPIO_Mode=GPIO_MODE_AF_PP
PI7.GPIO_PuPd=GPIO_NOPULL
PI7.GPIO_Speed=GPIO_SPEED_FREQ_LOW
PI7.Mode=Slave_8_bits_External_Synchro
PI7.Signal=DCMI_D7
PI9.GPIO_Label=LED3 [Red]
PI9.GPIO_Mode=GPIO_MODE_OUTPUT_PP
PI9.GPIO_ModeDefaultOutputPP=GPIO_MODE_OUTPUT_PP
PI9.GPIO_PuPd=GPIO_NOPULL
PI9.GPIO_Speed=GPIO_SPEED_FREQ_LOW
PI9.Signal=GPIO_Output
ProjectManager.HeapSize=0x200
ProjectManager.StackSize=0x400
ProjectManager.TargetToolchain=STM32CubeIDE
RCC.48MHZClocksFreq_Value=48000000
RCC.AHBFreq_Value=168000000
RCC.APB1CLKDivider=RCC_HCLK_DIV4
RCC.APB1Freq_Value=42000000
RCC.APB1TimFreq_Value=84000000
RCC.APB2CLKDivider=RCC_HCLK_DIV2
RCC.APB2Freq_Value=84000000
RCC.APB2TimFreq_Value=168000000
RCC.CortexFreq_Value=168000000
RCC.HCLKFreq_Value=168000000
RCC.HSE_VALUE=25000000
RCC.HSI_VALUE=16000000
RCC.PLLM=25
RCC.PLLN=336
RCC.PLLQ=7
RCC.RCC_MCO1Source=RCC_MCO1SOURCE_HSE
RCC.SYSCLKFreq_VALUE=168000000
RCC.SYSCLKSource=RCC_SYSCLKSOURCE_PLLCLK
RCC.VCOOutputFreq_Value=336000000
SH.COMP_DAC1_group.0=DAC_OUT1
SH.FSMC_A0.0=FSMC_A0
SH.FSMC_A1.0=FSMC_A1
SH.FSMC_A10.0=FSMC_A10
SH.FSMC_A11.0=FSMC_A11
SH.FSMC_A12.0=FSMC_A12
SH.FSMC_A13.0=FSMC_A13
SH.FSMC_A14.0=FSMC_A14
SH.FSMC_A15.0=FSMC_A15
SH.FSMC_A16_CLE.0=FSMC_A16
SH.FSMC_A17_ALE.0=FSMC_A17
SH.FSMC_A18.0=FSMC_A18
SH.FSMC_A19.0=FSMC_A19
SH.FSMC_A2.0=FSMC_A2
SH.FSMC_A20.0=FSMC_A20
SH.FSMC_A3.0=FSMC_A3
SH.FSMC_A4.0=FSMC_A4
SH.FSMC_A5.0=FSMC_A5
SH.FSMC_A6.0=FSMC_A6
SH.FSMC_A7.0=FSMC_A7
SH.FSMC_A8.0=FSMC_A8
SH.FSMC_A9.0=FSMC_A9
SH.FSMC_CLK.0=FSMC_CLK
SH.FSMC_D0_DA0.0=FSMC_D0
SH.FSMC_D10_DA10.0=FSMC_D10
SH.FSMC_D11_DA11.0=FSMC_D11
SH.FSMC_D12_DA12.0=FSMC_D12
SH.FSMC_D13_DA13.0=FSMC_D13
SH.FSMC_D14_DA14.0=FSMC_D14
SH.FSMC_D15_DA15.0=FSMC_D15
SH.FSMC_D1_DA1.0=FSMC_D1
SH.FSMC_D2_DA2.0=FSMC_D2
SH.FSMC_D3_DA3.0=FSMC_D3
SH.FSMC_D4_DA4.0=FSMC_D4
SH.FSMC_D5_DA5.0=FSMC_D5
SH.FSMC_D6_DA6.0=FSMC_D6
SH.FSMC_D7_DA7.0=FSMC_D7
SH.FSMC_D8_DA8.0=FSMC_D8
SH.FSMC_D9_DA9.0=FSMC_D9
SH.FSMC_NBL0.0=FSMC_NBL0
SH.FSMC_NBL1.0=FSMC_NBL1
SH.FSMC_NL.0=FSMC_NL
SH.FSMC_NOE.0=FSMC_NOE
SH.FSMC_NWAIT.0=FSMC_NWAIT
SH.FSMC_NWE.0=FSMC_NWE
USB_DEVICE.CLASS_NAME_FS=CDC
USB_DEVICE.VirtualMode-CDC_FS=Cdc
USB_DEVICE.VirtualModeFS=Cdc_FS
USB_OTG_FS.VirtualMode=Device_Only
VP_USB_DEVICE_VS_USB_DEVICE_CDC_FS.Mode=CDC_FS
board=STM3240G-EVAL

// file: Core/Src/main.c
/* USER CODE BEGIN Header */
/**
  ******************************************************************************
  * @file           : main.c
  * @brief          : Main program body
  ******************************************************************************
  * @attention
  *
  * Copyright (c) 2022 STMicroelectronics.
  * All rights reserved.
  *
  * This software is licensed under terms that can be found in the LICENSE file
  * in the root directory of this software component.
  * If no LICENSE file comes with this software, it is provided AS-IS.
  *
  ******************************************************************************
  */
/* USER CODE END Header */
#include "main.h"
#include "usb_device.h"

CAN_HandleTypeDef hcan2;

DCMI_HandleTypeDef hdcmi;

/* USER CODE BEGIN PV */

CAN_TxHeaderTypeDef   TxHeader;
CAN_RxHeaderTypeDef   RxHeader;
uint8_t               TxData[8];
uint8_t               RxData[8];
uint32_t              TxMailbox;
uint16_t			  prescaler = 4;
uint32_t			  set_mode = CAN_MODE_NORMAL;
uint16_t              delay_time_ms=1000;
uint16_t              sendingmsg = 1;
char mytext2 [100]  = "I got an message";
/* USER CODE END PV */

void SystemClock_Config(void);
static void MX_GPIO_Init(void);
static void MX_DCMI_Init(void);
static void MX_CAN2_Init(void);
/* USER CODE BEGIN PFP */

void HAL_CAN_RxFifo0MsgPendingCallback(CAN_HandleTypeDef *hcan){
		HAL_CAN_GetRxMessage(hcan, CAN_RX_FIFO0, &RxHeader, RxData);
//		CDC_Transmit_FS(mytext2, strlen(mytext2));
}
void HAL_CAN_RxFifo1MsgPendingCallback(CAN_HandleTypeDef *hcan){
		int j;
		HAL_CAN_GetRxMessage(hcan, CAN_RX_FIFO1, &RxHeader, RxData);
		char add_data_number[6];
		sprintf(mytext2,"Ide: %u, D:",RxHeader.StdId);
		for(j = 0; j < RxHeader.DLC; ++j){
			sprintf(add_data_number, "%u,",RxData[j]);
			strncat(mytext2,add_data_number,4);
		}
		sprintf(add_data_number, "\n\r",4);
		strncat(mytext2,add_data_number,4);
		CDC_Transmit_FS(mytext2, strlen(mytext2));
}

/* USER CODE END PFP */

int main(void)
{
  /* USER CODE BEGIN 1 */
char mytext [64] = "Hello hello hello \n";
  /* USER CODE END 1 */

  /* MCU Configuration--------------------------------------------------------*/

  /* Reset of all peripherals, Initializes the Flash interface and the Systick. */
  HAL_Init();

  /* Configure the system clock */
  SystemClock_Config();

  /* Initialize all configured peripherals */
  MX_GPIO_Init();
  MX_DCMI_Init();
  MX_CAN2_Init();
  MX_USB_DEVICE_Init();

  /* Infinite loop */
  /* USER CODE BEGIN WHILE */
HAL_CAN_Start(&hcan2) ;

HAL_CAN_ActivateNotification(&hcan2, CAN_IT_RX_FIFO1_MSG_PENDING);

TxHeader.DLC = 1;
TxHeader.ExtId = 0;
TxHeader.IDE = CAN_ID_STD;
TxHeader.RTR =  CAN_RTR_DATA;
TxHeader.StdId = 0x103;
TxHeader.TransmitGlobalTime = DISABLE;

TxData[0] = 0xf3;

HAL_CAN_AddTxMessage(&hcan2, &TxHeader, TxData, &TxMailbox);

  while (1)
  {

	  //CDC_Transmit_FS(mytext, strlen(mytext));
	 if(sendingmsg == 1){
		 HAL_CAN_AddTxMessage(&hcan2, &TxHeader, TxData, &TxMailbox);
		 }
	 if(sendingmsg == 2){
		 HAL_CAN_AddTxMessage(&hcan2, &TxHeader, TxData, &TxMailbox);
		 sendingmsg = 0;
	 }
	 HAL_Delay(delay_time_ms);
	 if(hcan2.Init.Prescaler != prescaler){
		 HAL_CAN_DeactivateNotification(&hcan2, CAN_IT_RX_FIFO1_MSG_PENDING);
		 HAL_CAN_Stop(&hcan2);
		 HAL_CAN_DeInit(&hcan2);
		 hcan2.Init.Prescaler = prescaler;
		 HAL_CAN_Init(&hcan2);
		 HAL_CAN_Start(&hcan2) ;
		 HAL_CAN_ActivateNotification(&hcan2, CAN_IT_RX_FIFO1_MSG_PENDING);
	 }
	 if(hcan2.Init.Mode != set_mode ){
		 HAL_CAN_DeactivateNotification(&hcan2, CAN_IT_RX_FIFO1_MSG_PENDING);
			 HAL_CAN_Stop(&hcan2);
			 HAL_CAN_DeInit(&hcan2);
			 hcan2.Init.Mode = set_mode;
			 HAL_CAN_Init(&hcan2);
			 HAL_CAN_Start(&hcan2) ;
			 HAL_CAN_ActivateNotification(&hcan2, CAN_IT_RX_FIFO1_MSG_PENDING);
	 }

  }

    /* USER CODE END WHILE */

}

void SystemClock_Config(void)
{
  RCC_OscInitTypeDef RCC_OscInitStruct = {0};
  RCC_ClkInitTypeDef RCC_ClkInitStruct = {0};

  /** Configure the main internal regulator output voltage
  */
  __HAL_RCC_PWR_CLK_ENABLE();
  __HAL_PWR_VOLTAGESCALING_CONFIG(PWR_REGULATOR_VOLTAGE_SCALE1);
  /** Initializes the RCC Oscillators according to the specified parameters
  * in the RCC_OscInitTypeDef structure.
  */
  RCC_OscInitStruct.OscillatorType = RCC_OSCILLATORTYPE_HSE;
  RCC_OscInitStruct.HSEState = RCC_HSE_ON;
  RCC_OscInitStruct.PLL.PLLState = RCC_PLL_ON;
  RCC_OscInitStruct.PLL.PLLSource = RCC_PLLSOURCE_HSE;
  RCC_OscInitStruct.PLL.PLLM = 25;
  RCC_OscInitStruct.PLL.PLLN = 336;
  RCC_OscInitStruct.PLL.PLLP = RCC_PLLP_DIV2;
  RCC_OscInitStruct.PLL.PLLQ = 7;
  if (HAL_RCC_OscConfig(&RCC_OscInitStruct) != HAL_OK)
  {
    Error_Handler();
  }
  /** Initializes the CPU, AHB and APB buses clocks
  */
  RCC_ClkInitStruct.ClockType = RCC_CLOCKTYPE_HCLK|RCC_CLOCKTYPE_SYSCLK
                              |RCC_CLOCKTYPE_PCLK1|RCC_CLOCKTYPE_PCLK2;
  RCC_ClkInitStruct.SYSCLKSource = RCC_SYSCLKSOURCE_PLLCLK;
  RCC_ClkInitStruct.AHBCLKDivider = RCC_SYSCLK_DIV1;
  RCC_ClkInitStruct.APB1CLKDivider = RCC_HCLK_DIV4;
  RCC_ClkInitStruct.APB2CLKDivider = RCC_HCLK_DIV2;

  if (HAL_RCC_ClockConfig(&RCC_ClkInitStruct, FLASH_LATENCY_5) != HAL_OK)
  {
    Error_Handler();
  }
  HAL_RCC_MCOConfig(RCC_MCO1, RCC_MCO1SOURCE_HSE, RCC_MCODIV_1);
}

static void MX_CAN2_Init(void)
{

  hcan2.Instance = CAN2;
  hcan2.Init.Prescaler = 4;
  hcan2.Init.Mode = CAN_MODE_NORMAL;
  hcan2.Init.SyncJumpWidth = CAN_SJW_1TQ;
  hcan2.Init.TimeSeg1 = CAN_BS1_15TQ;
  hcan2.Init.TimeSeg2 = CAN_BS2_5TQ;
  hcan2.Init.TimeTriggeredMode = DISABLE;
  hcan2.Init.AutoBusOff = DISABLE;
  hcan2.Init.AutoWakeUp = DISABLE;
  hcan2.Init.AutoRetransmission = DISABLE;
  hcan2.Init.ReceiveFifoLocked = DISABLE;
  hcan2.Init.TransmitFifoPriority = DISABLE;
  if (HAL_CAN_Init(&hcan2) != HAL_OK)
  {
    Error_Handler();
  }
  /* USER CODE BEGIN CAN2_Init 2 */
  CAN_FilterTypeDef canfilterconfig;
  canfilterconfig.FilterActivation = CAN_FILTER_ENABLE;
  canfilterconfig.FilterFIFOAssignment =  CAN_IT_RX_FIFO1_MSG_PENDING;
  canfilterconfig.FilterBank = 10;
  canfilterconfig.FilterIdHigh = 0;
  canfilterconfig.FilterIdLow = 0x0000;
  canfilterconfig.FilterMaskIdHigh = 0;
  canfilterconfig.FilterMaskIdLow = 0x000;
  canfilterconfig.FilterMode =  CAN_FILTERMODE_IDMASK;
  canfilterconfig.FilterScale = CAN_FILTERSCALE_32BIT;
  canfilterconfig.SlaveStartFilterBank = 0;

  HAL_CAN_ConfigFilter(&hcan2, &canfilterconfig);
  /* USER CODE END CAN2_Init 2 */

}

static void MX_DCMI_Init(void)
{

  hdcmi.Instance = DCMI;
  hdcmi.Init.SynchroMode = DCMI_SYNCHRO_HARDWARE;
  hdcmi.Init.PCKPolarity = DCMI_PCKPOLARITY_FALLING;
  hdcmi.Init.VSPolarity = DCMI_VSPOLARITY_LOW;
  hdcmi.Init.HSPolarity = DCMI_HSPOLARITY_LOW;
  hdcmi.Init.CaptureRate = DCMI_CR_ALL_FRAME;
  hdcmi.Init.ExtendedDataMode = DCMI_EXTEND_DATA_8B;
  hdcmi.Init.JPEGMode = DCMI_JPEG_DISABLE;
  if (HAL_DCMI_Init(&hdcmi) != HAL_OK)
  {
    Error_Handler();
  }

}

static void MX_GPIO_Init(void)
{
  GPIO_InitTypeDef GPIO_InitStruct = {0};

  /* GPIO Ports Clock Enable */
  __HAL_RCC_GPIOE_CLK_ENABLE();
  __HAL_RCC_GPIOB_CLK_ENABLE();
  __HAL_RCC_GPIOG_CLK_ENABLE();
  __HAL_RCC_GPIOD_CLK_ENABLE();
  __HAL_RCC_GPIOC_CLK_ENABLE();
  __HAL_RCC_GPIOA_CLK_ENABLE();
  __HAL_RCC_GPIOI_CLK_ENABLE();
  __HAL_RCC_GPIOH_CLK_ENABLE();
  __HAL_RCC_GPIOF_CLK_ENABLE();

  /*Configure GPIO pin Output Level */
  HAL_GPIO_WritePin(GPIOG, SmartCard_CMDVCC_Pin|LED2_Pin|LED1_Pin, GPIO_PIN_RESET);

  /*Configure GPIO pin Output Level */
  HAL_GPIO_WritePin(LED3_GPIO_Port, LED3_Pin, GPIO_PIN_RESET);

  /*Configure GPIO pin Output Level */
  HAL_GPIO_WritePin(GPIOH, SmartCard_3_5V_Pin|OTG_FS_PowerSwitchOn_Pin, GPIO_PIN_RESET);

  /*Configure GPIO pin Output Level */
  HAL_GPIO_WritePin(LED4_GPIO_Port, LED4_Pin, GPIO_PIN_RESET);

  /*Configure GPIO pin Output Level */
  HAL_GPIO_WritePin(SmartCard_RST_GPIO_Port, SmartCard_RST_Pin, GPIO_PIN_RESET);

  /*Configure GPIO pins : A19_Pin FSMC_NBL1_Pin FSMC_NBL0_Pin A20_Pin
                           D10_Pin D5_Pin D6_Pin D8_Pin
                           D11_Pin D4_Pin D7_Pin D9_Pin
                           D12_Pin */
  GPIO_InitStruct.Pin = A19_Pin|FSMC_NBL1_Pin|FSMC_NBL0_Pin|A20_Pin
                          |D10_Pin|D5_Pin|D6_Pin|D8_Pin
                          |D11_Pin|D4_Pin|D7_Pin|D9_Pin
                          |D12_Pin;
  GPIO_InitStruct.Mode = GPIO_MODE_AF_PP;
  GPIO_InitStruct.Pull = GPIO_NOPULL;
  GPIO_InitStruct.Speed = GPIO_SPEED_FREQ_VERY_HIGH;
  GPIO_InitStruct.Alternate = GPIO_AF12_FSMC;
  HAL_GPIO_Init(GPIOE, &GPIO_InitStruct);

  /*Configure GPIO pin : MII_TXD3_Pin */
  GPIO_InitStruct.Pin = MII_TXD3_Pin;
  GPIO_InitStruct.Mode = GPIO_MODE_AF_PP;
  GPIO_InitStruct.Pull = GPIO_NOPULL;
  GPIO_InitStruct.Speed = GPIO_SPEED_FREQ_LOW;
  GPIO_InitStruct.Alternate = GPIO_AF11_ETH;
  HAL_GPIO_Init(MII_TXD3_GPIO_Port, &GPIO_InitStruct);

  /*Configure GPIO pins : MII_TXD1_Pin MII_TXD0_Pin */
  GPIO_InitStruct.Pin = MII_TXD1_Pin|MII_TXD0_Pin;
  GPIO_InitStruct.Mode = GPIO_MODE_AF_PP;
  GPIO_InitStruct.Pull = GPIO_NOPULL;
  GPIO_InitStruct.Speed = GPIO_SPEED_FREQ_LOW;
  GPIO_InitStruct.Alternate = GPIO_AF11_ETH;
  HAL_GPIO_Init(GPIOG, &GPIO_InitStruct);

  /*Configure GPIO pins : FSMC_NE1_Pin FSMC_NWAIT_Pin D2_Pin FSMC_NWE_Pin
                           D3_Pin FSMC_NOE_Pin FSMC_CLK_Pin D1_Pin
                           D0_Pin A18_Pin A17_Pin A16_Pin
                           D15_Pin D14_Pin D13_Pin */
  GPIO_InitStruct.Pin = FSMC_NE1_Pin|FSMC_NWAIT_Pin|D2_Pin|FSMC_NWE_Pin
                          |D3_Pin|FSMC_NOE_Pin|FSMC_CLK_Pin|D1_Pin
                          |D0_Pin|A18_Pin|A17_Pin|A16_Pin
                          |D15_Pin|D14_Pin|D13_Pin;
  GPIO_InitStruct.Mode = GPIO_MODE_AF_PP;
  GPIO_InitStruct.Pull = GPIO_NOPULL;
  GPIO_InitStruct.Speed = GPIO_SPEED_FREQ_VERY_HIGH;
  GPIO_InitStruct.Alternate = GPIO_AF12_FSMC;
  HAL_GPIO_Init(GPIOD, &GPIO_InitStruct);

  /*Configure GPIO pins : MicroSDCard_CLK_Pin MicroSDCard_D1_Pin MicroSDCard_D0_Pin */
  GPIO_InitStruct.Pin = MicroSDCard_CLK_Pin|MicroSDCard_D1_Pin|MicroSDCard_D0_Pin;
  GPIO_InitStruct.Mode = GPIO_MODE_AF_PP;
  GPIO_InitStruct.Pull = GPIO_NOPULL;
  GPIO_InitStruct.Speed = GPIO_SPEED_FREQ_VERY_HIGH;
  GPIO_InitStruct.Alternate = GPIO_AF12_SDIO;
  HAL_GPIO_Init(GPIOC, &GPIO_InitStruct);

  /*Configure GPIO pin : I2C1_SDA_Pin */
  GPIO_InitStruct.Pin = I2C1_SDA_Pin;
  GPIO_InitStruct.Mode = GPIO_MODE_AF_OD;
  GPIO_InitStruct.Pull = GPIO_PULLUP;
  GPIO_InitStruct.Speed = GPIO_SPEED_FREQ_LOW;
  GPIO_InitStruct.Alternate = GPIO_AF4_I2C1;
  HAL_GPIO_Init(I2C1_SDA_GPIO_Port, &GPIO_InitStruct);

  /*Configure GPIO pin : FSMC_NL_Pin */
  GPIO_InitStruct.Pin = FSMC_NL_Pin;
  GPIO_InitStruct.Mode = GPIO_MODE_AF_PP;
  GPIO_InitStruct.Pull = GPIO_NOPULL;
  GPIO_InitStruct.Speed = GPIO_SPEED_FREQ_VERY_HIGH;
  GPIO_InitStruct.Alternate = GPIO_AF12_FSMC;
  HAL_GPIO_Init(FSMC_NL_GPIO_Port, &GPIO_InitStruct);

  /*Configure GPIO pin : User_Button_Pin */
  GPIO_InitStruct.Pin = User_Button_Pin;
  GPIO_InitStruct.Mode = GPIO_MODE_EVT_RISING;
  GPIO_InitStruct.Pull = GPIO_NOPULL;
  HAL_GPIO_Init(User_Button_GPIO_Port, &GPIO_InitStruct);

  /*Configure GPIO pins : SmartCard_CMDVCC_Pin LED2_Pin LED1_Pin */
  GPIO_InitStruct.Pin = SmartCard_CMDVCC_Pin|LED2_Pin|LED1_Pin;
  GPIO_InitStruct.Mode = GPIO_MODE_OUTPUT_PP;
  GPIO_InitStruct.Pull = GPIO_NOPULL;
  GPIO_InitStruct.Speed = GPIO_SPEED_FREQ_LOW;
  HAL_GPIO_Init(GPIOG, &GPIO_InitStruct);

  /*Configure GPIO pins : FSMC_NE3_Pin FSMC_NE2_Pin A15_Pin A14_Pin
                           A13_Pin A12_Pin A11_Pin A10_Pin */
  GPIO_InitStruct.Pin = FSMC_NE3_Pin|FSMC_NE2_Pin|A15_Pin|A14_Pin
                          |A13_Pin|A12_Pin|A11_Pin|A10_Pin;
  GPIO_InitStruct.Mode = GPIO_MODE_AF_PP;
  GPIO_InitStruct.Pull = GPIO_NOPULL;
  GPIO_InitStruct.Speed = GPIO_SPEED_FREQ_VERY_HIGH;
  GPIO_InitStruct.Alternate = GPIO_AF12_FSMC;
  HAL_GPIO_Init(GPIOG, &GPIO_InitStruct);

  /*Configure GPIO pins : MicroSDCard_D3_Pin MicroSDCard_D2_Pin */
  GPIO_InitStruct.Pin = MicroSDCard_D3_Pin|MicroSDCard_D2_Pin;
  GPIO_InitStruct.Mode = GPIO_MODE_AF_PP;
  GPIO_InitStruct.Pull = GPIO_NOPULL;
  GPIO_InitStruct.Speed = GPIO_SPEED_FREQ_LOW;
  GPIO_InitStruct.Alternate = GPIO_AF7_USART3;
  HAL_GPIO_Init(GPIOC, &GPIO_InitStruct);

  /*Configure GPIO pins : I2S_SD_Pin I2S_WS_Pin */
  GPIO_InitStruct.Pin = I2S_SD_Pin|I2S_WS_Pin;
  GPIO_InitStruct.Mode = GPIO_MODE_AF_PP;
  GPIO_InitStruct.Pull = GPIO_NOPULL;
  GPIO_InitStruct.Speed = GPIO_SPEED_FREQ_LOW;
  GPIO_InitStruct.Alternate = GPIO_AF5_SPI2;
  HAL_GPIO_Init(GPIOI, &GPIO_InitStruct);

  /*Configure GPIO pin : IO_Expander_INT_Pin */
  GPIO_InitStruct.Pin = IO_Expander_INT_Pin;
  GPIO_InitStruct.Mode = GPIO_MODE_EVT_RISING;
  GPIO_InitStruct.Pull = GPIO_NOPULL;
  HAL_GPIO_Init(IO_Expander_INT_GPIO_Port, &GPIO_InitStruct);

  /*Configure GPIO pin : LED3_Pin */
  GPIO_InitStruct.Pin = LED3_Pin;
  GPIO_InitStruct.Mode = GPIO_MODE_OUTPUT_PP;
  GPIO_InitStruct.Pull = GPIO_NOPULL;
  GPIO_InitStruct.Speed = GPIO_SPEED_FREQ_LOW;
  HAL_GPIO_Init(LED3_GPIO_Port, &GPIO_InitStruct);

  /*Configure GPIO pin : MicroSDCard_CMD_Pin */
  GPIO_InitStruct.Pin = MicroSDCard_CMD_Pin;
  GPIO_InitStruct.Mode = GPIO_MODE_AF_PP;
  GPIO_InitStruct.Pull = GPIO_NOPULL;
  GPIO_InitStruct.Speed = GPIO_SPEED_FREQ_VERY_HIGH;
  GPIO_InitStruct.Alternate = GPIO_AF12_SDIO;
  HAL_GPIO_Init(MicroSDCard_CMD_GPIO_Port, &GPIO_InitStruct);

  /*Configure GPIO pins : SmartCard_3_5V_Pin OTG_FS_PowerSwitchOn_Pin */
  GPIO_InitStruct.Pin = SmartCard_3_5V_Pin|OTG_FS_PowerSwitchOn_Pin;
  GPIO_InitStruct.Mode = GPIO_MODE_OUTPUT_PP;
  GPIO_InitStruct.Pull = GPIO_NOPULL;
  GPIO_InitStruct.Speed = GPIO_SPEED_FREQ_LOW;
  HAL_GPIO_Init(GPIOH, &GPIO_InitStruct);

  /*Configure GPIO pins : A0_Pin A2_Pin A1_Pin A3_Pin
                           A4_Pin A5_Pin A7_Pin A6_Pin
                           A9_Pin A8_Pin */
  GPIO_InitStruct.Pin = A0_Pin|A2_Pin|A1_Pin|A3_Pin
                          |A4_Pin|A5_Pin|A7_Pin|A6_Pin
                          |A9_Pin|A8_Pin;
  GPIO_InitStruct.Mode = GPIO_MODE_AF_PP;
  GPIO_InitStruct.Pull = GPIO_NOPULL;
  GPIO_InitStruct.Speed = GPIO_SPEED_FREQ_VERY_HIGH;
  GPIO_InitStruct.Alternate = GPIO_AF12_FSMC;
  HAL_GPIO_Init(GPIOF, &GPIO_InitStruct);

  /*Configure GPIO pin : MII_RX_ER_Pin */
  GPIO_InitStruct.Pin = MII_RX_ER_Pin;
  GPIO_InitStruct.Mode = GPIO_MODE_AF_PP;
  GPIO_InitStruct.Pull = GPIO_NOPULL;
  GPIO_InitStruct.Speed = GPIO_SPEED_FREQ_LOW;
  GPIO_InitStruct.Alternate = GPIO_AF11_ETH;
  HAL_GPIO_Init(MII_RX_ER_GPIO_Port, &GPIO_InitStruct);

  /*Configure GPIO pin : ULPI_DIR_Pin */
  GPIO_InitStruct.Pin = ULPI_DIR_Pin;
  GPIO_InitStruct.Mode = GPIO_MODE_AF_PP;
  GPIO_InitStruct.Pull = GPIO_NOPULL;
  GPIO_InitStruct.Speed = GPIO_SPEED_FREQ_VERY_HIGH;
  GPIO_InitStruct.Alternate = GPIO_AF10_OTG_HS;
  HAL_GPIO_Init(ULPI_DIR_GPIO_Port, &GPIO_InitStruct);

  /*Configure GPIO pin : MicroSDCard_Detect_Pin */
  GPIO_InitStruct.Pin = MicroSDCard_Detect_Pin;
  GPIO_InitStruct.Mode = GPIO_MODE_INPUT;
  GPIO_InitStruct.Pull = GPIO_PULLUP;
  HAL_GPIO_Init(MicroSDCard_Detect_GPIO_Port, &GPIO_InitStruct);

  /*Configure GPIO pins : MII_CRS_Pin MII_COL_Pin MII_RXD2_Pin MII_RXD3_Pin */
  GPIO_InitStruct.Pin = MII_CRS_Pin|MII_COL_Pin|MII_RXD2_Pin|MII_RXD3_Pin;
  GPIO_InitStruct.Mode = GPIO_MODE_AF_PP;
  GPIO_InitStruct.Pull = GPIO_NOPULL;
  GPIO_InitStruct.Speed = GPIO_SPEED_FREQ_LOW;
  GPIO_InitStruct.Alternate = GPIO_AF11_ETH;
  HAL_GPIO_Init(GPIOH, &GPIO_InitStruct);

  /*Configure GPIO pin : MCO_Pin */
  GPIO_InitStruct.Pin = MCO_Pin;
  GPIO_InitStruct.Mode = GPIO_MODE_AF_PP;
  GPIO_InitStruct.Pull = GPIO_NOPULL;
  GPIO_InitStruct.Speed = GPIO_SPEED_FREQ_LOW;
  GPIO_InitStruct.Alternate = GPIO_AF0_MCO;
  HAL_GPIO_Init(MCO_GPIO_Port, &GPIO_InitStruct);

  /*Configure GPIO pin : LED4_Pin */
  GPIO_InitStruct.Pin = LED4_Pin;
  GPIO_InitStruct.Mode = GPIO_MODE_OUTPUT_PP;
  GPIO_InitStruct.Pull = GPIO_NOPULL;
  GPIO_InitStruct.Speed = GPIO_SPEED_FREQ_LOW;
  HAL_GPIO_Init(LED4_GPIO_Port, &GPIO_InitStruct);

  /*Configure GPIO pin : ULPI_NXT_Pin */
  GPIO_InitStruct.Pin = ULPI_NXT_Pin;
  GPIO_InitStruct.Mode = GPIO_MODE_AF_PP;
  GPIO_InitStruct.Pull = GPIO_NOPULL;
  GPIO_InitStruct.Speed = GPIO_SPEED_FREQ_VERY_HIGH;
  GPIO_InitStruct.Alternate = GPIO_AF10_OTG_HS;
  HAL_GPIO_Init(ULPI_NXT_GPIO_Port, &GPIO_InitStruct);

  /*Configure GPIO pin : SmartCard_CLK_Pin */
  GPIO_InitStruct.Pin = SmartCard_CLK_Pin;
  GPIO_InitStruct.Mode = GPIO_MODE_AF_PP;
  GPIO_InitStruct.Pull = GPIO_NOPULL;
  GPIO_InitStruct.Speed = GPIO_SPEED_FREQ_LOW;
  GPIO_InitStruct.Alternate = GPIO_AF8_USART6;
  HAL_GPIO_Init(SmartCard_CLK_GPIO_Port, &GPIO_InitStruct);

  /*Configure GPIO pin : SmartCard_RST_Pin */
  GPIO_InitStruct.Pin = SmartCard_RST_Pin;
  GPIO_InitStruct.Mode = GPIO_MODE_OUTPUT_PP;
  GPIO_InitStruct.Pull = GPIO_NOPULL;
  GPIO_InitStruct.Speed = GPIO_SPEED_FREQ_LOW;
  HAL_GPIO_Init(SmartCard_RST_GPIO_Port, &GPIO_InitStruct);

  /*Configure GPIO pin : SmartCard_OFF_Pin */
  GPIO_InitStruct.Pin = SmartCard_OFF_Pin;
  GPIO_InitStruct.Mode = GPIO_MODE_INPUT;
  GPIO_InitStruct.Pull = GPIO_NOPULL;
  HAL_GPIO_Init(SmartCard_OFF_GPIO_Port, &GPIO_InitStruct);

  /*Configure GPIO pins : Audio_IN_Pin Potentiometer_Pin */
  GPIO_InitStruct.Pin = Audio_IN_Pin|Potentiometer_Pin;
  GPIO_InitStruct.Mode = GPIO_MODE_ANALOG;
  GPIO_InitStruct.Pull = GPIO_NOPULL;
  HAL_GPIO_Init(GPIOF, &GPIO_InitStruct);

  /*Configure GPIO pin : ULPI_STP_Pin */
  GPIO_InitStruct.Pin = ULPI_STP_Pin;
  GPIO_InitStruct.Mode = GPIO_MODE_AF_PP;
  GPIO_InitStruct.Pull = GPIO_NOPULL;
  GPIO_InitStruct.Speed = GPIO_SPEED_FREQ_VERY_HIGH;
  GPIO_InitStruct.Alternate = GPIO_AF10_OTG_HS;
  HAL_GPIO_Init(ULPI_STP_GPIO_Port, &GPIO_InitStruct);

  /*Configure GPIO pins : MII_MDC_Pin MII_TXD2_Pin MII_TX_CLK_Pin MII_RXD0_Pin
                           MII_RXD1_Pin */
  GPIO_InitStruct.Pin = MII_MDC_Pin|MII_TXD2_Pin|MII_TX_CLK_Pin|MII_RXD0_Pin
                          |MII_RXD1_Pin;
  GPIO_InitStruct.Mode = GPIO_MODE_AF_PP;
  GPIO_InitStruct.Pull = GPIO_NOPULL;
  GPIO_InitStruct.Speed = GPIO_SPEED_FREQ_LOW;
  GPIO_InitStruct.Alternate = GPIO_AF11_ETH;
  HAL_GPIO_Init(GPIOC, &GPIO_InitStruct);

  /*Configure GPIO pin : SW1_Pin */
  GPIO_InitStruct.Pin = SW1_Pin;
  GPIO_InitStruct.Mode = GPIO_MODE_INPUT;
  GPIO_InitStruct.Pull = GPIO_NOPULL;
  HAL_GPIO_Init(SW1_GPIO_Port, &GPIO_InitStruct);

  /*Configure GPIO pins : MII_RX_CLK_RMII_REF_CLK_Pin MII_MDIO_Pin MII_RX_DV_RMII_CRSDV_Pin */
  GPIO_InitStruct.Pin = MII_RX_CLK_RMII_REF_CLK_Pin|MII_MDIO_Pin|MII_RX_DV_RMII_CRSDV_Pin;
  GPIO_InitStruct.Mode = GPIO_MODE_AF_PP;
  GPIO_InitStruct.Pull = GPIO_NOPULL;
  GPIO_InitStruct.Speed = GPIO_SPEED_FREQ_LOW;
  GPIO_InitStruct.Alternate = GPIO_AF11_ETH;
  HAL_GPIO_Init(GPIOA, &GPIO_InitStruct);

  /*Configure GPIO pin : Audio_DAC_OUT_Pin */
  GPIO_InitStruct.Pin = Audio_DAC_OUT_Pin;
  GPIO_InitStruct.Mode = GPIO_MODE_ANALOG;
  GPIO_InitStruct.Pull = GPIO_NOPULL;
  HAL_GPIO_Init(Audio_DAC_OUT_GPIO_Port, &GPIO_InitStruct);

  /*Configure GPIO pins : ULPI_CLK_Pin ULPI_D0_Pin */
  GPIO_InitStruct.Pin = ULPI_CLK_Pin|ULPI_D0_Pin;
  GPIO_InitStruct.Mode = GPIO_MODE_AF_PP;
  GPIO_InitStruct.Pull = GPIO_NOPULL;
  GPIO_InitStruct.Speed = GPIO_SPEED_FREQ_VERY_HIGH;
  GPIO_InitStruct.Alternate = GPIO_AF10_OTG_HS;
  HAL_GPIO_Init(GPIOA, &GPIO_InitStruct);

  /*Configure GPIO pins : ULPI_D5_Pin ULPI_D2_Pin ULPI_D1_Pin ULPI_D3_Pin
                           ULPI_D4_Pin */
  GPIO_InitStruct.Pin = ULPI_D5_Pin|ULPI_D2_Pin|ULPI_D1_Pin|ULPI_D3_Pin
                          |ULPI_D4_Pin;
  GPIO_InitStruct.Mode = GPIO_MODE_AF_PP;
  GPIO_InitStruct.Pull = GPIO_NOPULL;
  GPIO_InitStruct.Speed = GPIO_SPEED_FREQ_VERY_HIGH;
  GPIO_InitStruct.Alternate = GPIO_AF10_OTG_HS;
  HAL_GPIO_Init(GPIOB, &GPIO_InitStruct);

  /*Configure GPIO pin : OTG_FS_OverCurrent_Pin */
  GPIO_InitStruct.Pin = OTG_FS_OverCurrent_Pin;
  GPIO_InitStruct.Mode = GPIO_MODE_EVT_RISING;
  GPIO_InitStruct.Pull = GPIO_NOPULL;
  HAL_GPIO_Init(OTG_FS_OverCurrent_GPIO_Port, &GPIO_InitStruct);

  /*Configure GPIO pin : MII_INT_Pin */
  GPIO_InitStruct.Pin = MII_INT_Pin;
  GPIO_InitStruct.Mode = GPIO_MODE_EVT_RISING;
  GPIO_InitStruct.Pull = GPIO_NOPULL;
  HAL_GPIO_Init(MII_INT_GPIO_Port, &GPIO_InitStruct);

}

void Error_Handler(void)
{
  __disable_irq();
  while (1)
  {
  }
}
